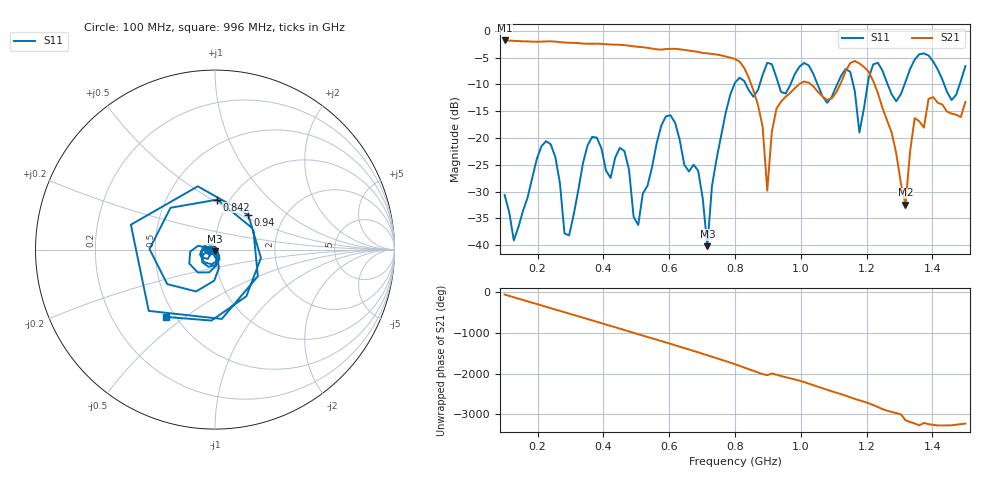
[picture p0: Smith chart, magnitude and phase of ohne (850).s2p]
! NanoVNA-App
! Date: 2025-09-25 14:27:25
! Start: 100MHz Stop: 1,5GHz Points: 101
! S-Parameter data: F S11 S21 S12 S22
# Hz S RI R 50
!  Frequency  S11_Real  S11_Imag  S21_Real  S21_Imag  S12_Real  S12_Imag  S22_Real  S22_Imag
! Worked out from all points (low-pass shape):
!   101 points, 100 MHz to 1.5 GHz, reference 50 ohm
!   highest |S21| = -1.79 dB at 100 MHz (marker M1); lowest = -32.5 dB at 1.318 GHz (marker M2)
!   |S21| within 3 dB of the highest: start of sweep to 772 MHz
!   lowest |S11| = -40.2 dB at 716 MHz (marker M3), VSWR 1.02, Z = 49.8 - j0.961 ohm
!   |S11| at or under -10 dB: start of sweep to 797.9 MHz; 833.1 MHz to 875.1 MHz (41.97 MHz wide, 4.91 % of centre); 1.051 GHz to 1.11 GHz (59.52 MHz wide, 5.51 % of centre) (the widest 3 of 7)
!   S12 and S22 are empty: the file has one direction only
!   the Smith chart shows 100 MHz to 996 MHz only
!   S11 on the Smith chart (normalised r, x): 100 MHz: 0.94, -0.01; 842 MHz: 0.88, +0.53; 940 MHz: 1.32, +0.55; 996 MHz: 0.45, -0.43
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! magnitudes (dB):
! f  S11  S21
! 100 MHz  -30.6  -1.8
! 128 MHz  -39.1  -1.9
! 226 MHz  -20.6  -2.0
! 296 MHz  -38.2  -2.2
! 338 MHz  -24.7  -2.4
! 464 MHz  -22.4  -2.7
! 506 MHz  -36.2  -3.0
! 576 MHz  -17.7  -3.5
! 688 MHz  -26.1  -3.9
! 716 MHz  -40.2  -4.2
! 800 MHz  -9.7  -5.3
! 842 MHz  -11.1  -8.8
! 898 MHz  -6.0  -29.8
! 940 MHz  -11.4  -13.2
! 996 MHz  -6.7  -9.9
! 1.038 GHz  -8.0  -10.4
! 1.178 GHz  -19.0  -6.1
! 1.22 GHz  -6.2  -9.4
! 1.276 GHz  -11.9  -19.0
! 1.318 GHz  -9.5  -32.5
! 1.346 GHz  -5.4  -16.3
! 1.5 GHz  -6.6  -13.3
